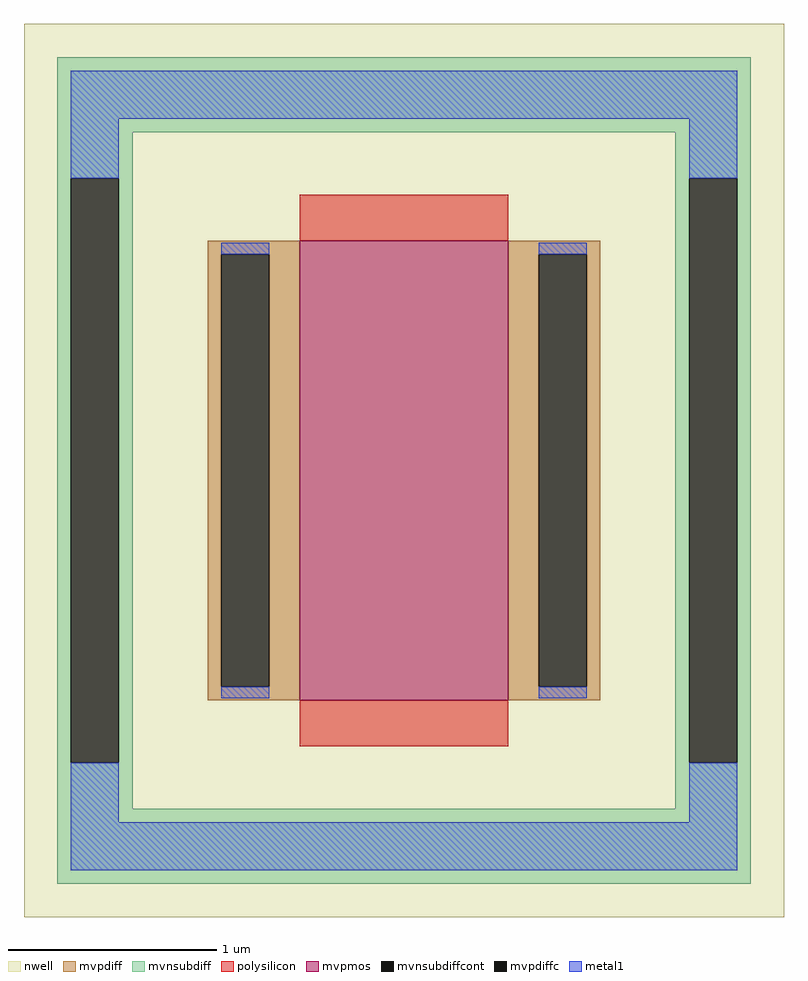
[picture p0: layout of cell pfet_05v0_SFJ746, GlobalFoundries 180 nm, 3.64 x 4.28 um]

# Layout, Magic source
magic
tech gf180mcuD
magscale 1 10
<< nwell >>
rect -364 -428 364 428
<< mvpmos >>
rect -100 -220 100 220
<< mvpdiff >>
rect -188 207 -100 220
rect -188 -207 -175 207
rect -129 -207 -100 207
rect -188 -220 -100 -207
rect 100 207 188 220
rect 100 -207 129 207
rect 175 -207 188 207
rect 100 -220 188 -207
<< mvpdiffc >>
rect -175 -207 -129 207
rect 129 -207 175 207
<< mvnsubdiff >>
rect -332 324 332 396
rect -332 280 -260 324
rect -332 -280 -319 280
rect -273 -280 -260 280
rect 260 280 332 324
rect -332 -324 -260 -280
rect 260 -280 273 280
rect 319 -280 332 280
rect 260 -324 332 -280
rect -332 -396 332 -324
<< mvnsubdiffcont >>
rect -319 -280 -273 280
rect 273 -280 319 280
<< polysilicon >>
rect -100 220 100 264
rect -100 -264 100 -220
<< metal1 >>
rect -319 337 319 383
rect -319 280 -273 337
rect 273 280 319 337
rect -175 207 -129 218
rect -175 -218 -129 -207
rect 129 207 175 218
rect 129 -218 175 -207
rect -319 -337 -273 -280
rect 273 -337 319 -280
rect -319 -383 319 -337
<< properties >>
string FIXED_BBOX -296 -360 296 360
string gencell pfet_05v0
string library gf180mcu
string parameters w 2.2 l 1 m 1 nf 1 diffcov 100 polycov 100 guard 1 glc 1 grc 1 gtc 0 gbc 0 tbcov 100 rlcov 100 topc 0 botc 0 poverlap 0 doverlap 1 lmin 0.5 wmin 0.3 class mosfet full_metal 1 compatible {pfet_03v3 pfet_05v0 pfet_06v0}
<< end >>
